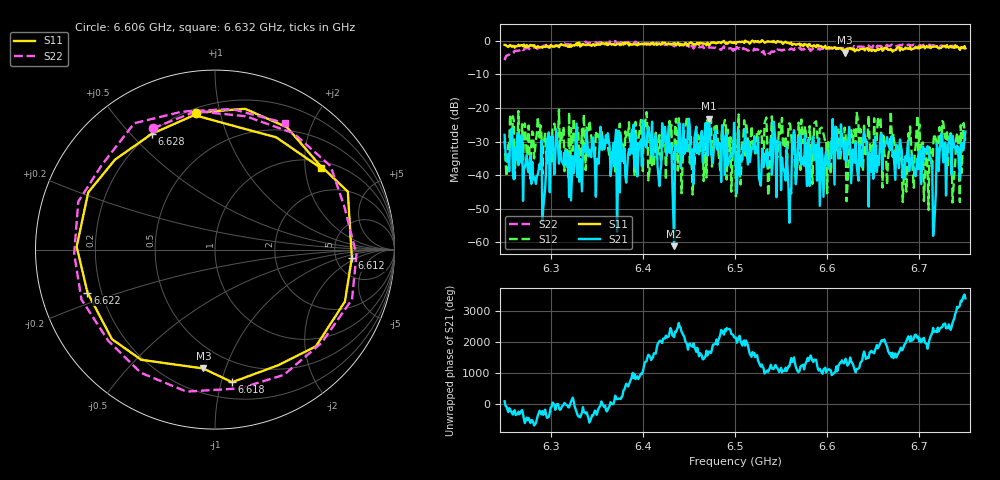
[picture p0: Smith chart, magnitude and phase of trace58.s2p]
# Hz S RI R 50
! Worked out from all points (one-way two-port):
!   401 points, 6.25 GHz to 6.75 GHz, reference 50 ohm
!   highest |S21| = -23.14 dB at 6.472 GHz (marker M1); lowest = -61.1 dB at 6.434 GHz (marker M2)
!   lowest |S11| = -3.5 dB at 6.619 GHz (marker M3), VSWR 4.98, Z = 17.7 - j42.1 ohm
!   |S11| at or under -10 dB: nowhere
!   |S22| runs from -5.8 to -0.1 dB; largest |S21 - S12| = 0.12
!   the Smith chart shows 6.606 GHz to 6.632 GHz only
!   S11 on the Smith chart (normalised r, x): 6.606 GHz: 0.22, +0.84; 6.612 GHz: 7.12, -1.55; 6.618 GHz: 0.33, -1.08; 6.622 GHz: 0.15, -0.16; 6.628 GHz: 0.20, +0.57; 6.632 GHz: 1.19, +2.43
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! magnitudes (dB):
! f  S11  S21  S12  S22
! 6.25 GHz  -1.2  -28.0  -29.6  -5.8
! 6.334 GHz  -1.3  -44.8  -26.3  -0.8
! 6.402 GHz  -0.8  -30.9  -25.5  -0.7
! 6.418 GHz  -0.8  -43.2  -28.0  -0.4
! 6.434 GHz  -0.7  -61.1  -34.0  -1.7
! 6.472 GHz  -1.4  -23.1  -25.7  -2.1
! 6.5 GHz  -0.5  -28.6  -26.8  -2.7
! 6.545 GHz  -0.5  -46.5  -33.4  -3.2
! 6.559 GHz  -0.9  -54.2  -24.5  -2.6
! 6.584 GHz  -1.7  -29.9  -42.6  -2.5
! 6.606 GHz  -2.3  -23.3  -26.9  -2.4
! 6.612 GHz  -2.3  -35.0  -26.4  -2.4
! 6.618 GHz  -2.6  -32.4  -31.3  -2.0
! 6.619 GHz  -3.5  -35.4  -25.9  -2.1
! 6.622 GHz  -2.5  -32.2  -43.4  -2.1
! 6.628 GHz  -2.7  -32.4  -30.4  -2.1
! 6.632 GHz  -2.6  -37.0  -21.2  -1.9
! 6.668 GHz  -2.8  -32.3  -30.5  -1.5
! 6.709 GHz  -1.9  -31.4  -38.4  -1.4
! 6.715 GHz  -1.8  -58.0  -31.6  -1.3
! 6.721 GHz  -2.2  -38.8  -28.0  -1.4
! 6.75 GHz  -2.3  -27.0  -30.5  -2.1
